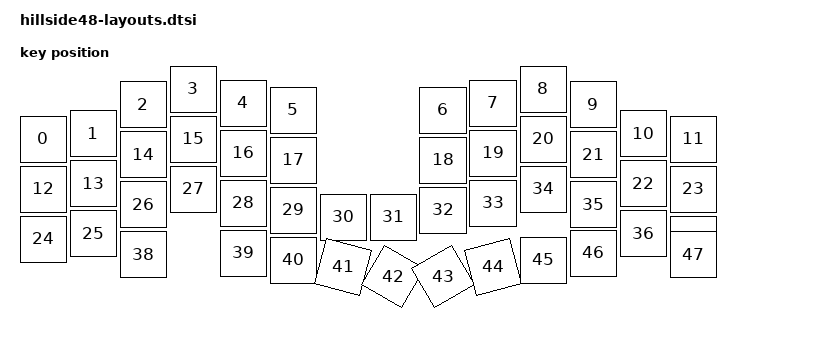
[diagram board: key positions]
/*
 * Copyright (c) 2021 The ZMK Contributors
 *
 * SPDX-License-Identifier: MIT
 */
#include <physical_layouts.dtsi>

/ {
    physical_layout0: physical_layout_0 {
        compatible = "zmk,physical-layout";
        display-name = "Hillside48";

        kscan = <&kscan0>;
        transform = <&default_transform>;

        keys  //                     w   h    x    y     rot    rx    ry
        // Row 0: left 6 keys + right 6 keys
            = <&key_physical_attrs 100 100    0  100       0     0     0>
            , <&key_physical_attrs 100 100  100   89       0     0     0>
            , <&key_physical_attrs 100 100  200   31       0     0     0>
            , <&key_physical_attrs 100 100  300    0       0     0     0>
            , <&key_physical_attrs 100 100  400   28       0     0     0>
            , <&key_physical_attrs 100 100  500   42       0     0     0>
            , <&key_physical_attrs 100 100  800   42       0     0     0>
            , <&key_physical_attrs 100 100  900   28       0     0     0>
            , <&key_physical_attrs 100 100 1000    0       0     0     0>
            , <&key_physical_attrs 100 100 1100   31       0     0     0>
            , <&key_physical_attrs 100 100 1200   89       0     0     0>
            , <&key_physical_attrs 100 100 1300  100       0     0     0>
        // Row 1: left 6 keys + right 6 keys
            , <&key_physical_attrs 100 100    0  200       0     0     0>
            , <&key_physical_attrs 100 100  100  189       0     0     0>
            , <&key_physical_attrs 100 100  200  131       0     0     0>
            , <&key_physical_attrs 100 100  300  100       0     0     0>
            , <&key_physical_attrs 100 100  400  128       0     0     0>
            , <&key_physical_attrs 100 100  500  142       0     0     0>
            , <&key_physical_attrs 100 100  800  142       0     0     0>
            , <&key_physical_attrs 100 100  900  128       0     0     0>
            , <&key_physical_attrs 100 100 1000  100       0     0     0>
            , <&key_physical_attrs 100 100 1100  131       0     0     0>
            , <&key_physical_attrs 100 100 1200  189       0     0     0>
            , <&key_physical_attrs 100 100 1300  200       0     0     0>
        // Row 2: left 6 keys + left extra + right extra + right 6 keys
            , <&key_physical_attrs 100 100    0  300       0     0     0>
            , <&key_physical_attrs 100 100  100  289       0     0     0>
            , <&key_physical_attrs 100 100  200  231       0     0     0>
            , <&key_physical_attrs 100 100  300  200       0     0     0>
            , <&key_physical_attrs 100 100  400  228       0     0     0>
            , <&key_physical_attrs 100 100  500  242       0     0     0>
            , <&key_physical_attrs 100 100  600  256       0     0     0>
            , <&key_physical_attrs 100 100  700  256       0     0     0>
            , <&key_physical_attrs 100 100  800  242       0     0     0>
            , <&key_physical_attrs 100 100  900  228       0     0     0>
            , <&key_physical_attrs 100 100 1000  200       0     0     0>
            , <&key_physical_attrs 100 100 1100  231       0     0     0>
            , <&key_physical_attrs 100 100 1200  289       0     0     0>
            , <&key_physical_attrs 100 100 1300  300       0     0     0>
        // Row 3: thumb keys - left 5 + right 5
            , <&key_physical_attrs 100 100  200  331       0     0     0>
            , <&key_physical_attrs 100 100  400  328       0     0     0>
            , <&key_physical_attrs 100 100  500  342       0     0     0>
            , <&key_physical_attrs 100 100  600  356    1500   650   406>
            , <&key_physical_attrs 100 100  700  375    3000   750   425>
            , <&key_physical_attrs 100 100  800  375 (-3000)   850   425>
            , <&key_physical_attrs 100 100  900  356 (-1500)   950   406>
            , <&key_physical_attrs 100 100 1000  342       0     0     0>
            , <&key_physical_attrs 100 100 1100  328       0     0     0>
            , <&key_physical_attrs 100 100 1300  331       0     0     0>
            ;
    };
};
